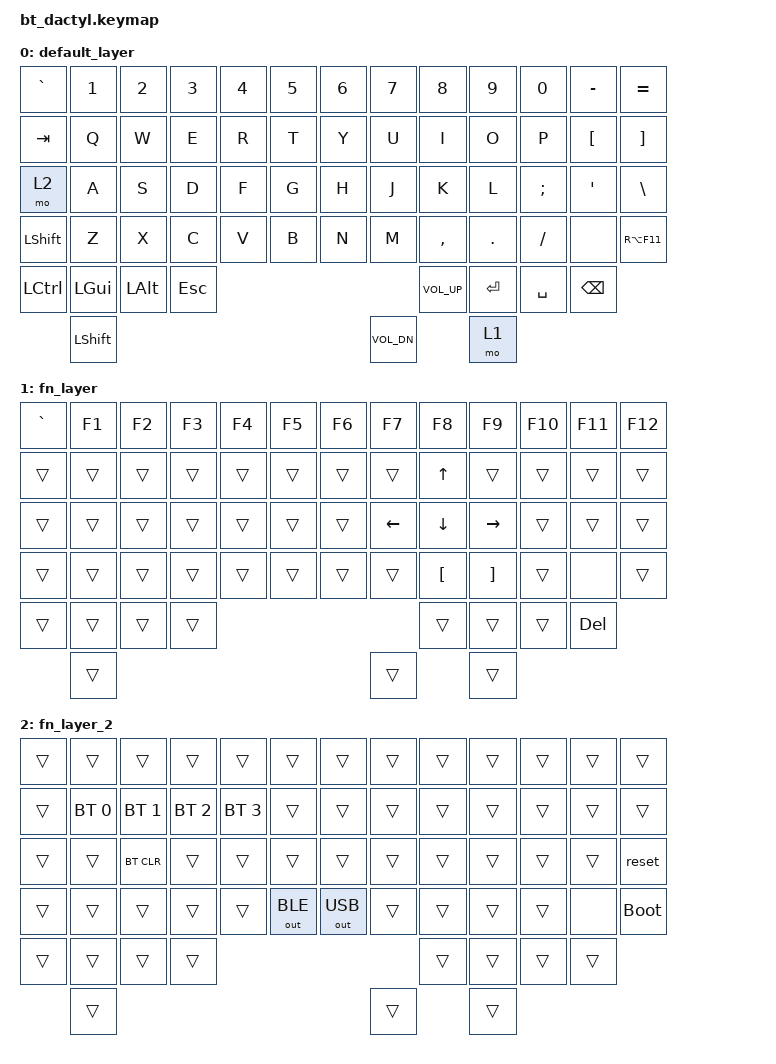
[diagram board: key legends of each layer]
/*
 * Copyright (c) 2021 The ZMK Contributors
 *
 * SPDX-License-Identifier: MIT
 */

#include <behaviors.dtsi>
#include <dt-bindings/zmk/keys.h>
#include <dt-bindings/zmk/bt.h>
#include <dt-bindings/zmk/outputs.h>
#include <dt-bindings/zmk/ext_power.h>

/ {
	keymap0: keymap {
		compatible = "zmk,keymap";

		default_layer {
			bindings = <
	&kp GRAVE    &kp N1   &kp N2   &kp N3   &kp N4   &kp N5                           &kp N6   &kp N7   &kp N8   &kp N9   &kp N0   &kp MINUS   &kp EQUAL   
	&kp TAB      &kp Q    &kp W    &kp E    &kp R    &kp T                            &kp Y    &kp U    &kp I    &kp O    &kp P    &kp LBKT    &kp RBKT   
	&mo 2        &kp A    &kp S    &kp D    &kp F    &kp G                            &kp H    &kp J    &kp K    &kp L    &kp SEMI &kp SQT     &kp BSLH   
	&kp LSHFT    &kp Z    &kp X    &kp C    &kp V    &kp B                            &kp N    &kp M    &kp COMMA    &kp DOT    &kp FSLH    &none    &kp RA(F11)   
		&kp LCTRL    &kp LGUI    &kp LALT    &kp ESC                                          &kp C_VOL_UP    &kp RET    &kp SPACE    &kp BSPC    
					&kp LSHFT                                                                 &kp C_VOL_DN    &mo 1
			>;
		};

		fn_layer {
			bindings = <
	&kp GRAVE    &kp F1    &kp F2    &kp F3    &kp F4    &kp F5                            &kp F6    &kp F7    &kp F8    &kp F9     &kp F10    &kp F11    &kp F12   
	&trans    &trans    &trans    &trans    &trans    &trans                               &trans    &trans    &kp UP    &trans     &trans    &trans    &trans   
	&trans    &trans    &trans    &trans    &trans    &trans                               &trans    &kp LEFT  &kp DOWN  &kp RIGHT  &trans    &trans    &trans   
	&trans    &trans    &trans    &trans    &trans    &trans                               &trans    &trans    &kp LBKT  &kp RBKT   &trans    &none    &trans
		&trans    &trans    &trans    &trans                                                     &trans    &trans    &trans    &kp DEL
					&trans                                                                       &trans    &trans
			>;
		};
	
		fn_layer_2 {
			bindings = <
	&trans    &trans    &trans    &trans    &trans    &trans                            &trans    &trans    &trans    &trans    &trans    &trans    &trans   
	&trans    &bt BT_SEL 0   &bt BT_SEL 1   &bt BT_SEL 2   &bt BT_SEL 3  &trans          &trans    &trans    &trans    &trans    &trans    &trans    &trans   
	&trans    &trans    &bt BT_CLR    &trans    &trans    &trans                            &trans    &trans    &trans    &trans    &trans    &trans    &reset   
	&trans    &trans    &trans    &trans    &trans    &out OUT_BLE                  &out OUT_USB  &trans    &trans    &trans    &trans    &none    &bootloader   
		&trans    &trans    &trans    &trans                                                     &trans    &trans    &trans    &trans
					&trans                                                                       &trans    &trans
			>;
		};

	};
};
